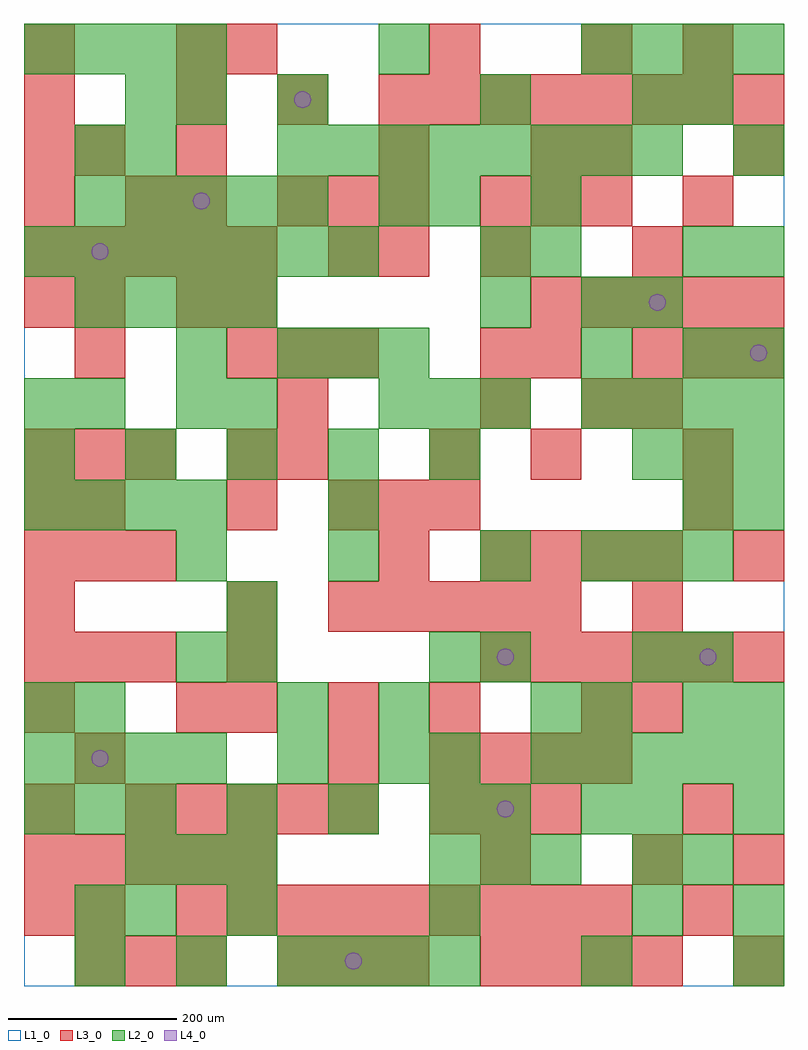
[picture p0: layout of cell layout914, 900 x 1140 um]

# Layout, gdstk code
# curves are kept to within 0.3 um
import gdstk
lib = gdstk.Library(unit=1e-6, precision=1e-09)
def R(c, l, rs):  # rectangles x0, y0, x1, y1
    for r in rs: c.add(gdstk.rectangle(r[:2], r[2:], *l))
def A(c, l, x, y, w, h, nx, ny, dx, dy):  # array of equal rectangles
    R(c, l, [(x+i*dx, y+j*dy, x+i*dx+w, y+j*dy+h) for i in range(nx) for j in range(ny)])
def P(c, l, *ps):  # polygons
    for p in ps: c.add(gdstk.Polygon(p, *l))
L1_0 = (1, 0)
L2_0 = (2, 0)
L3_0 = (3, 0)
L4_0 = (4, 0)

layout914 = lib.new_cell('layout914')
R(layout914, L1_0, [(0,0,900,1140)])
A(layout914, L2_0, 60, 0, 60, 60, 3, 1, 120, 0)
A(layout914, L2_0, 360, 0, 60, 60, 3, 1, 60, 0)
A(layout914, L2_0, 240, 60, 60, 60, 3, 1, 240, 0)
A(layout914, L2_0, 840, 60, 60, 60, 1, 3, 0, 120)
A(layout914, L2_0, 120, 120, 60, 60, 3, 1, 60, 0)
A(layout914, L2_0, 480, 120, 60, 60, 3, 1, 60, 0)
A(layout914, L2_0, 0, 180, 60, 60, 3, 1, 60, 0)
A(layout914, L2_0, 240, 180, 60, 60, 3, 1, 120, 0)
A(layout914, L2_0, 0, 240, 60, 60, 4, 2, 60, 300)
A(layout914, L2_0, 600, 240, 60, 60, 5, 1, 60, 0)
A(layout914, L2_0, 780, 360, 60, 60, 1, 3, 0, 180)
A(layout914, L2_0, 180, 480, 60, 60, 3, 1, 180, 0)
A(layout914, L2_0, 660, 480, 60, 60, 3, 1, 60, 0)
A(layout914, L2_0, 0, 600, 60, 60, 5, 1, 120, 0)
A(layout914, L2_0, 720, 600, 60, 60, 3, 1, 60, 0)
A(layout914, L2_0, 420, 660, 60, 60, 3, 1, 60, 0)
A(layout914, L2_0, 660, 660, 60, 60, 4, 2, 60, 420)
A(layout914, L2_0, 300, 720, 60, 60, 3, 1, 60, 0)
A(layout914, L2_0, 840, 720, 60, 60, 1, 3, 0, 120)
A(layout914, L2_0, 60, 780, 60, 60, 4, 1, 60, 0)
A(layout914, L2_0, 0, 840, 60, 60, 7, 1, 60, 0)
A(layout914, L2_0, 60, 900, 60, 60, 5, 1, 60, 0)
A(layout914, L2_0, 300, 960, 60, 60, 8, 1, 60, 0)
A(layout914, L2_0, 0, 1080, 60, 60, 4, 1, 60, 0)
R(layout914, L2_0, [(660,0,720,60), (840,0,900,60), (60,60,120,120), (120,60,180,120), (720,120,780,180), (780,120,840,180), (540,180,600,240), (660,180,720,240), (720,180,780,240), (300,240,360,300), (420,240,480,300), (480,240,540,300), (0,300,60,360), (60,300,120,360), (300,300,360,360), (420,300,480,360), (600,300,660,360), (660,300,720,360), (780,300,840,360), (180,360,240,420), (240,360,300,420), (480,360,540,420), (540,360,600,420), (720,360,780,420), (240,420,300,480), (360,540,420,600), (840,540,900,600), (0,660,60,720), (60,660,120,720), (180,660,240,720), (240,660,300,720), (180,720,240,780), (660,720,720,780), (540,780,600,840), (660,780,720,840), (720,780,780,840), (540,840,600,900), (600,840,660,900), (780,840,840,900), (420,900,480,960), (480,900,540,960), (600,900,660,960), (60,960,120,1020), (120,960,180,1020), (120,1020,180,1080), (180,1020,240,1080), (300,1020,360,1080), (540,1020,600,1080), (720,1020,780,1080), (780,1020,840,1080), (420,1080,480,1140)])
A(layout914, L3_0, 60, 0, 60, 60, 3, 1, 60, 0)
A(layout914, L3_0, 300, 0, 60, 60, 3, 2, 60, 900)
A(layout914, L3_0, 540, 0, 60, 60, 4, 2, 60, 480)
A(layout914, L3_0, 0, 60, 60, 60, 1, 5, 0, 120)
A(layout914, L3_0, 180, 60, 60, 60, 9, 1, 60, 0)
A(layout914, L3_0, 0, 120, 60, 60, 5, 2, 60, 720)
A(layout914, L3_0, 120, 180, 60, 60, 5, 1, 60, 0)
A(layout914, L3_0, 480, 180, 60, 60, 3, 1, 60, 0)
A(layout914, L3_0, 480, 240, 60, 60, 4, 1, 60, 0)
A(layout914, L3_0, 240, 300, 60, 60, 3, 1, 120, 0)
A(layout914, L3_0, 0, 360, 60, 60, 3, 3, 60, 120)
A(layout914, L3_0, 540, 360, 60, 60, 6, 1, 60, 0)
A(layout914, L3_0, 360, 420, 60, 60, 5, 1, 60, 0)
A(layout914, L3_0, 360, 540, 60, 60, 3, 1, 60, 0)
A(layout914, L3_0, 240, 720, 60, 60, 3, 1, 60, 0)
A(layout914, L3_0, 720, 720, 60, 60, 3, 1, 60, 0)
A(layout914, L3_0, 600, 780, 60, 60, 5, 1, 60, 0)
A(layout914, L3_0, 0, 900, 60, 60, 1, 4, 0, 60)
A(layout914, L3_0, 540, 900, 60, 60, 3, 1, 60, 0)
A(layout914, L3_0, 180, 1020, 60, 60, 3, 1, 120, 0)
A(layout914, L3_0, 480, 1020, 60, 60, 7, 1, 60, 0)
R(layout914, L3_0, [(840,0,900,60), (60,60,120,120), (780,60,840,120), (540,120,600,180), (720,120,780,180), (840,120,900,180), (780,180,840,240), (60,240,120,300), (360,240,420,300), (180,300,240,360), (660,300,720,360), (720,300,780,360), (240,360,300,420), (240,420,300,480), (720,420,780,480), (420,480,480,540), (840,480,900,540), (60,540,120,600), (240,540,300,600), (780,540,840,600), (240,600,300,660), (300,600,360,660), (480,600,540,660), (600,600,660,660), (780,600,840,660), (300,660,360,720), (540,660,600,720), (660,660,720,720), (720,660,780,720), (60,720,120,780), (540,720,600,780), (600,720,660,780), (0,780,60,840), (60,780,120,840), (180,780,240,840), (240,780,300,840), (360,840,420,900), (420,840,480,900), (540,840,600,900), (720,840,780,900), (120,900,180,960), (180,900,240,960), (780,900,840,960), (60,960,120,1020), (180,960,240,1020), (420,960,480,1020), (600,960,660,1020), (660,960,720,1020), (840,960,900,1020), (180,1080,240,1140), (240,1080,300,1140), (480,1080,540,1140), (660,1080,720,1140), (780,1080,840,1140)])
P(layout914, L4_0, [(100,270),(99.239,273.827),(97.071,277.071),(93.827,279.239),(90,280),(86.173,279.239),(82.929,277.071),(80.761,273.827),(80,270),(80.761,266.173),(82.929,262.929),(86.173,260.761),(90,260),(93.827,260.761),(97.071,262.929),(99.239,266.173)],
  [(100,870),(99.239,873.827),(97.071,877.071),(93.827,879.239),(90,880),(86.173,879.239),(82.929,877.071),(80.761,873.827),(80,870),(80.761,866.173),(82.929,862.929),(86.173,860.761),(90,860),(93.827,860.761),(97.071,862.929),(99.239,866.173)],
  [(220,930),(219.239,933.827),(217.071,937.071),(213.827,939.239),(210,940),(206.173,939.239),(202.929,937.071),(200.761,933.827),(200,930),(200.761,926.173),(202.929,922.929),(206.173,920.761),(210,920),(213.827,920.761),(217.071,922.929),(219.239,926.173)],
  [(340,1050),(339.239,1053.827),(337.071,1057.071),(333.827,1059.239),(330,1060),(326.173,1059.239),(322.929,1057.071),(320.761,1053.827),(320,1050),(320.761,1046.173),(322.929,1042.929),(326.173,1040.761),(330,1040),(333.827,1040.761),(337.071,1042.929),(339.239,1046.173)],
  [(400,30),(399.239,33.827),(397.071,37.071),(393.827,39.239),(390,40),(386.173,39.239),(382.929,37.071),(380.761,33.827),(380,30),(380.761,26.173),(382.929,22.929),(386.173,20.761),(390,20),(393.827,20.761),(397.071,22.929),(399.239,26.173)],
  [(580,210),(579.239,213.827),(577.071,217.071),(573.827,219.239),(570,220),(566.173,219.239),(562.929,217.071),(560.761,213.827),(560,210),(560.761,206.173),(562.929,202.929),(566.173,200.761),(570,200),(573.827,200.761),(577.071,202.929),(579.239,206.173)],
  [(580,390),(579.239,393.827),(577.071,397.071),(573.827,399.239),(570,400),(566.173,399.239),(562.929,397.071),(560.761,393.827),(560,390),(560.761,386.173),(562.929,382.929),(566.173,380.761),(570,380),(573.827,380.761),(577.071,382.929),(579.239,386.173)],
  [(760,810),(759.239,813.827),(757.071,817.071),(753.827,819.239),(750,820),(746.173,819.239),(742.929,817.071),(740.761,813.827),(740,810),(740.761,806.173),(742.929,802.929),(746.173,800.761),(750,800),(753.827,800.761),(757.071,802.929),(759.239,806.173)],
  [(820,390),(819.239,393.827),(817.071,397.071),(813.827,399.239),(810,400),(806.173,399.239),(802.929,397.071),(800.761,393.827),(800,390),(800.761,386.173),(802.929,382.929),(806.173,380.761),(810,380),(813.827,380.761),(817.071,382.929),(819.239,386.173)],
  [(880,750),(879.239,753.827),(877.071,757.071),(873.827,759.239),(870,760),(866.173,759.239),(862.929,757.071),(860.761,753.827),(860,750),(860.761,746.173),(862.929,742.929),(866.173,740.761),(870,740),(873.827,740.761),(877.071,742.929),(879.239,746.173)])

lib.write_gds('layout914.gds')
